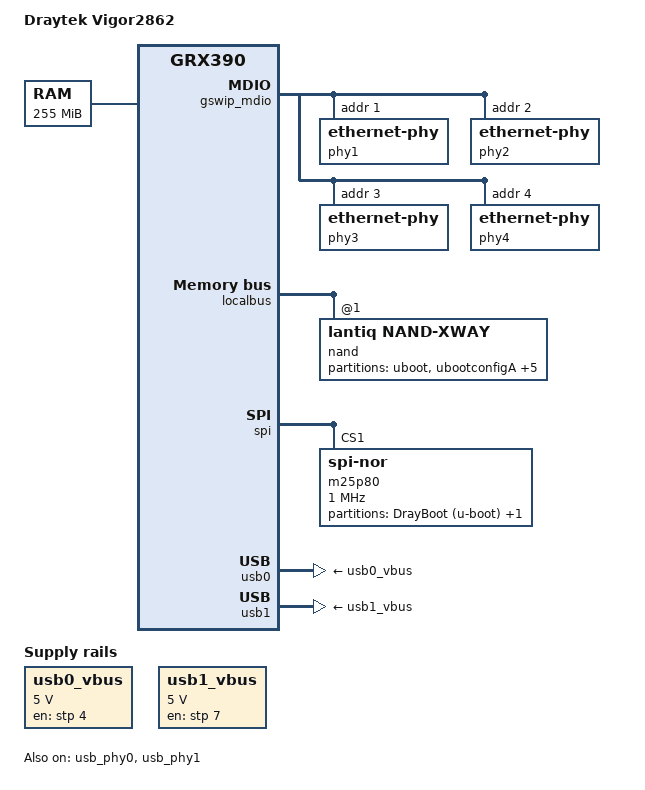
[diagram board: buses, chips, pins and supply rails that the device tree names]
#include "grx390.dtsi"
#include <dt-bindings/mips/lantiq_rcu_gphy.h>
#include <dt-bindings/input/input.h>
#include <dt-bindings/gpio/gpio.h>

/ {
	compatible = "draytek,vigor2862", "lantiq,xway", "lantiq,grx390";
	model = "Draytek Vigor2862";

	chosen {
		bootargs = "console=ttyLTQ0,115200";
	};

	memory@0 {
		device_type = "memory";
		reg = <0x00 0xff00000>;
	};

	usb0_vbus: regulator-usb0-vbus {
		compatible = "regulator-fixed";

		regulator-name = "USB0_VBUS";

		regulator-min-microvolt = <5000000>;
		regulator-max-microvolt = <5000000>;

		gpios = <&stp 4 GPIO_ACTIVE_HIGH>;
		enable-active-high;
	};

	usb1_vbus: regulator-usb1-vbus {
		compatible = "regulator-fixed";
		regulator-name = "USB1_VBUS";

		regulator-min-microvolt = <5000000>;
		regulator-max-microvolt = <5000000>;

		gpios = <&stp 7 GPIO_ACTIVE_HIGH>;
		enable-active-high;
	};
};

&gphy0 {
	lantiq,gphy-mode = <GPHY_MODE_GE>;
};

&gphy1 {
	lantiq,gphy-mode = <GPHY_MODE_GE>;
};

&gphy2 {
	lantiq,gphy-mode = <GPHY_MODE_GE>;
};

&gphy3 {
	lantiq,gphy-mode = <GPHY_MODE_GE>;
};


&gswip {
	pinctrl-0 = <&mdio_pins>;
	pinctrl-names = "default";
};


&gswip_mdio {
	phy1: ethernet-phy@1 {
		reg = <0x01>;
	};

	phy2: ethernet-phy@2 {
		reg = <0x02>;
	};

	phy3: ethernet-phy@3 {
		reg = <0x03>;
	};

	phy4: ethernet-phy@4 {
		reg = <0x04>;
	};
};

/*
 * port 1 2 3 4 6 are internal;
 * 0 can do all types of rgmii in addition to rmii and gmii;
 * 5 can do all types of rgmii in addition to rmii and internal;
 */
&gswip_ports {
	port@1 {
		reg = <1>;
		label = "port1";
		phy-mode = "internal";
		phy-handle = <&phy3>;
	};

	port@2 {
		reg = <2>;
		label = "port2";
		phy-mode = "internal";
		phy-handle = <&phy1>;
	};

	port@3 {
		reg = <3>;
		label = "port3";
		phy-mode = "internal";
		phy-handle = <&phy4>;
	};

	port@4 {
		reg = <4>;
		label = "port4";
		phy-mode = "internal";
		phy-handle = <&phy2>;
	};
};

&localbus {
	// not fully working yet, partitions don't show up
	nand@1 {
		compatible = "lantiq,nand-xway";
		lantiq,cs = <1>;
		bank-width = <2>;
		reg = <1 0x0 0x2000000>;
		#address-cells = <1>;
		#size-cells = <1>;

		pinctrl-0 = <&nand_pins>, <&nand_cs1_pins>;
		pinctrl-names = "default";

		nand-on-flash-bbt;

		// ecc?

		partitions {
			compatible = "fixed_partitions";
			#address-cells = <1>;
			#size-cells = <1>;

			partition@0 {
				label = "uboot";
				reg = <0x00 0x100000>;
				read-only;
			};

			partition@100000 {
				label = "ubootconfigA";
				reg = <0x100000 0x40000>;
				read-only;
			};

			partition@140000 {
				label = "ubootconfigB";
				reg = <0x140000 0x40000>;
				read-only;
			};

			partition@180000 {
				label = "gphyfirmware";
				reg = <0x180000 0x40000>;
				read-only;
			};

			partition@1c0000 {
				label = "system_sw";
				reg = <0x1c0000 0x3200000>;
				read-only;
			};

			partition@33c0000 {
				label = "calibration";
				reg = <0x33c0000 0x100000>;
				read-only;
			};

			partition@34c0000 {
				label = "res";
				reg = <0x34c0000 0xb40000>;
				read-only;
			};
		};
	};
};


&spi {
	status = "okay";

	m25p80@1 { 
		#address-cells = <1>;
		#size-cells = <1>;
		compatible = "jedec,spi-nor";
		reg = <1>;
		spi-max-frequency = <1000000>; // 1 MHz

		partitions {
			compatible = "fixed-partitions";
			#address-cells = <1>;
			#size-cells = <1>;

			partition@0 {
				reg = <0x00 0x31000>;
				label = "DrayBoot (u-boot)";
				read-only;
			};

			partition@31000 {
				reg = <0x31000 0xf000>;
				label = "res (unknown)";
				read-only;
			};
		};
	};
};

&usb_phy0 {
	status = "okay";
};

&usb_phy1 {
	status = "okay";
};

&usb0 {
	status = "okay";
	vbus-supply = <&usb0_vbus>;
};

&usb1 {
	status = "okay";
	vbus-supply = <&usb1_vbus>;
};
